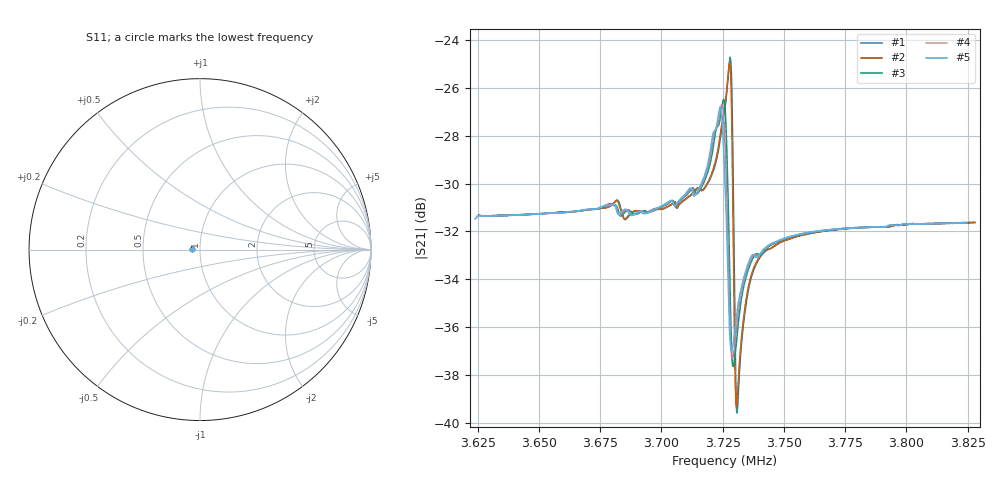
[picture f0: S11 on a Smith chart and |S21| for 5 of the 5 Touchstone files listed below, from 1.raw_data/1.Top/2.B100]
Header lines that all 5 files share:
# Hz S dB R 50.000
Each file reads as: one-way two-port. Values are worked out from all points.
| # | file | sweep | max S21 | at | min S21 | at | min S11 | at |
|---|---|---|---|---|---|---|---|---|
| 1 | B100_25C.s2p | 3.628 MHz to 3.828 MHz | -24.71 dB | 3.728 MHz | -39.6 dB | 3.731 MHz | -26.5 dB | 3.825 MHz |
| 2 | B100_30C.s2p | 3.628 MHz to 3.828 MHz | -24.94 dB | 3.728 MHz | -39.3 dB | 3.731 MHz | -26.5 dB | 3.827 MHz |
| 3 | B100_50C.s2p | 3.625 MHz to 3.825 MHz | -26.47 dB | 3.725 MHz | -37.7 dB | 3.729 MHz | -26.6 dB | 3.823 MHz |
| 4 | B100_55C.s2p | 3.625 MHz to 3.825 MHz | -26.68 dB | 3.725 MHz | -37.3 dB | 3.729 MHz | -26.6 dB | 3.803 MHz |
| 5 | B100_60C.s2p | 3.624 MHz to 3.824 MHz | -26.78 dB | 3.724 MHz | -37.0 dB | 3.729 MHz | -26.6 dB | 3.815 MHz |
